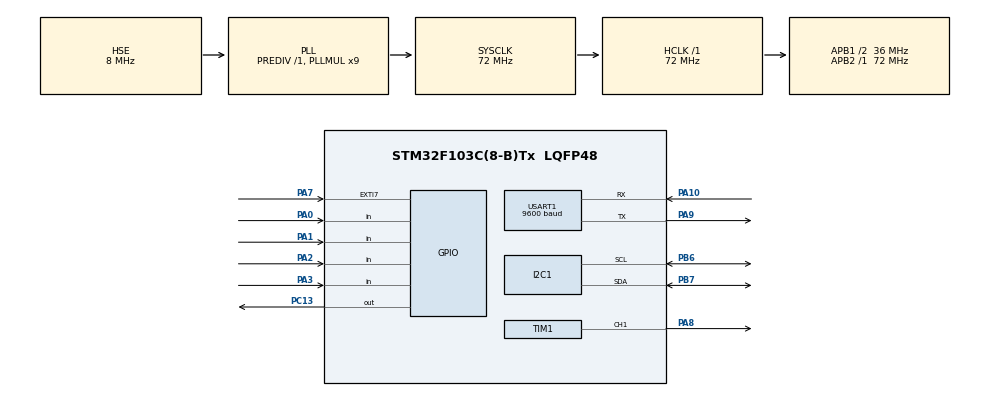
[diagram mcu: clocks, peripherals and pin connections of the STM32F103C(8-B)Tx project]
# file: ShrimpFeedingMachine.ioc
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Dma.Request0=USART1_RX
Dma.USART1_RX.0.Direction=DMA_PERIPH_TO_MEMORY
Dma.USART1_RX.0.Instance=DMA1_Channel5
Dma.USART1_RX.0.MemDataAlignment=DMA_MDATAALIGN_BYTE
Dma.USART1_RX.0.MemInc=DMA_MINC_ENABLE
Dma.USART1_RX.0.Mode=DMA_CIRCULAR
Dma.USART1_RX.0.PeriphDataAlignment=DMA_PDATAALIGN_BYTE
Dma.USART1_RX.0.PeriphInc=DMA_PINC_DISABLE
Dma.USART1_RX.0.Priority=DMA_PRIORITY_HIGH
Mcu.Family=STM32F1
Mcu.Name=STM32F103C(8-B)Tx
Mcu.Package=LQFP48
NVIC.DMA1_Channel5_IRQn=true\:0\:0\:false\:false\:true\:false\:true\:true
NVIC.EXTI9_5_IRQn=true\:0\:0\:false\:false\:true\:true\:true\:true
NVIC.PriorityGroup=NVIC_PRIORITYGROUP_4
NVIC.USART1_IRQn=true\:0\:0\:false\:false\:true\:true\:true\:true
PA0-WKUP.GPIO_PuPd=GPIO_PULLUP
PA0-WKUP.Signal=GPIO_Input
PA1.GPIO_PuPd=GPIO_PULLUP
PA1.Signal=GPIO_Input
PA10.Mode=Asynchronous
PA10.Signal=USART1_RX
PA13.Mode=Serial_Wire
PA13.Signal=SYS_JTMS-SWDIO
PA14.Mode=Serial_Wire
PA14.Signal=SYS_JTCK-SWCLK
PA2.GPIO_PuPd=GPIO_PULLUP
PA2.Signal=GPIO_Input
PA3.GPIO_PuPd=GPIO_PULLUP
PA3.Signal=GPIO_Input
PA7.GPIO_PuPd=GPIO_PULLUP
PA7.Signal=GPXTI7
PA8.Signal=S_TIM1_CH1
PA9.Mode=Asynchronous
PA9.Signal=USART1_TX
PB6.Mode=I2C
PB6.Signal=I2C1_SCL
PB7.Mode=I2C
PB7.Signal=I2C1_SDA
PC13-TAMPER-RTC.Signal=GPIO_Output
PD0-OSC_IN.Mode=HSE-External-Oscillator
PD0-OSC_IN.Signal=RCC_OSC_IN
PD1-OSC_OUT.Mode=HSE-External-Oscillator
PD1-OSC_OUT.Signal=RCC_OSC_OUT
ProjectManager.HeapSize=0x200
ProjectManager.StackSize=0x400
ProjectManager.TargetToolchain=MDK-ARM V5.32
RCC.AHBFreq_Value=72000000
RCC.APB1CLKDivider=RCC_HCLK_DIV2
RCC.APB1Freq_Value=36000000
RCC.APB1TimFreq_Value=72000000
RCC.APB2Freq_Value=72000000
RCC.APB2TimFreq_Value=72000000
RCC.HCLKFreq_Value=72000000
RCC.PLLMUL=RCC_PLL_MUL9
RCC.PLLSourceVirtual=RCC_PLLSOURCE_HSE
RCC.SYSCLKFreq_VALUE=72000000
RCC.SYSCLKSource=RCC_SYSCLKSOURCE_PLLCLK
RCC.USBFreq_Value=72000000
SH.S_TIM1_CH1.0=TIM1_CH1,PWM Generation1 CH1
TIM1.Channel-PWM\ Generation1\ CH1=TIM_CHANNEL_1
TIM1.Period=20000
TIM1.Prescaler=72-1
TIM1.Pulse-PWM\ Generation1\ CH1=10000
USART1.BaudRate=9600
USART1.VirtualMode=VM_ASYNC
VP_TIM1_VS_ClockSourceINT.Mode=Internal
board=custom

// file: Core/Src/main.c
/* USER CODE BEGIN Header */
/**
  ******************************************************************************
  * @file           : main.c
  * @brief          : Main program body
  ******************************************************************************
  * @attention
  *
  * Copyright (c) 2023 STMicroelectronics.
  * All rights reserved.
  *
  * This software is licensed under terms that can be found in the LICENSE file
  * in the root directory of this software component.
  * If no LICENSE file comes with this software, it is provided AS-IS.
  *
  ******************************************************************************
  */
/* USER CODE END Header */
#include "main.h"

/* USER CODE BEGIN Includes */
#include "hx711.h"
#include "string.h"
/* USER CODE END Includes */

/* USER CODE BEGIN PD */
#define HX711_CLK_GPIO_Port 	GPIOB
#define HX711_CLK_Pin					GPIO_PIN_6
#define HX711_DATA_GPIO_Port 	GPIOB
#define HX711_DATA_Pin				GPIO_PIN_7

#define ENCODER_PULSE 200

#define MODE_BUTTON 		GPIO_PIN_0
#define SET_BUTTON 			GPIO_PIN_1
#define CHANGE_BUTTON 	GPIO_PIN_2

/* USER CODE END PD */

I2C_HandleTypeDef hi2c1;

TIM_HandleTypeDef htim1;

UART_HandleTypeDef huart1;
DMA_HandleTypeDef hdma_usart1_rx;

/* USER CODE BEGIN PV */
hx711_t loadcell;
uint8_t weight;

volatile uint16_t EnableEOS = 0, setEnable = 0, UpToSecond = 0, CountingPulse = 0, PulseWidth = 10000, PulseLever = 5, RPM = 0;
uint8_t buttonBuffer[4] = {0, 0, 0, 0};
//------------------------------FOR UART'S VARIABLES-----------------------------
volatile uint8_t txBuffer[5] = {0,0,0,0,0};
volatile uint8_t rxBuffer[5] = {0,0,0,0,0};

volatile uint8_t Minutes = 0, Seconds = 0, SetMinutes = 2, SetSeconds = 5, ModeAck = 0;
volatile uint8_t Set = 1, CheckLoadCellTime = 0, button;
// ------------------------------------------------------------------------------

/* USER CODE END PV */

void SystemClock_Config(void);
static void MX_GPIO_Init(void);
static void MX_DMA_Init(void);
static void MX_I2C1_Init(void);
static void MX_USART1_UART_Init(void);
static void MX_TIM1_Init(void);

/* USER CODE BEGIN 0 */
// ******************************** FOR EOS FUNCTIONS **************************
void EOS_Enable(uint32_t x) //  Bat EOS
{
	EnableEOS = 1;

	SysTick->LOAD = SystemCoreClock / 1000*x;
	SysTick->VAL = 0;
	SysTick->CTRL |= SysTick_CTRL_CLKSOURCE_Msk | SysTick_CTRL_TICKINT_Msk | SysTick_CTRL_ENABLE_Msk;
}

void EOS_Disable()					// Tat EOS va cau hinh lai SYSTICK TIMER
{
	EnableEOS = 0;
	SysTick->CTRL &= ~SysTick_CTRL_ENABLE_Msk;
	HAL_InitTick(uwTickPrio);
}

// ******************************** FOR UART FUNCTIONS ********************************
void HAL_UART_RxCpltCallback(UART_HandleTypeDef *huart)
{
	HAL_UART_Receive_DMA(&huart1, rxBuffer, 5);
}

// ******************************** FOR TIME FUNCTIONS ********************************
void runTime()
{
	Seconds++;
	CheckLoadCellTime++;
	if (Seconds > 59)
	{
		Seconds = 0;
		Minutes++;
		if (Minutes > 59)
		{
			Minutes = 0;
		}
	}
}

// ******************************** FOR ENCODER GPIO FUNCTIONS **************************

void HAL_GPIO_EXTI_Callback(uint16_t GPIO_Pin) // Ham dem xung khi co ngat
{
	CountingPulse++;
}
// ************************** FOR BUTTON FUNCTIONS ******************************

uint8_t readModeButton()							// doc nut nhan mode
{
	return (GPIOA->IDR & GPIO_PIN_0) == 0;
}

uint8_t readSetButton()							// doc nut nhan set
{
	return (GPIOA->IDR & GPIO_PIN_1) == 0;
}

uint8_t readUpButton()						// doc nut nhan up, nut nay thay tang gia tri thoi gian phut, giay
{
	return (GPIOA->IDR & GPIO_PIN_2) == 0;
}

uint8_t readDownButton()						// doc nut nhan down, nut nay giam gia tri thoi gian phut, giay
{
	return (GPIOA->IDR & GPIO_PIN_3) == 0;
}

uint8_t readButtons()							// doc nut nhan va tra ve gia tri nut nhan
{
	uint8_t temp = 0, result = 0;
	if (readModeButton())
	{
		temp = 1;
	}
	else if (readSetButton())
	{
		temp = 2;
	}
	else if (readUpButton())
	{
		temp = 3;
	}
	else if (readDownButton())
	{
		temp = 4;
	}

	buttonBuffer[0] = buttonBuffer[1]; //Store data

	buttonBuffer[1] = buttonBuffer[2];

	buttonBuffer[2] = temp;

	if (buttonBuffer[0] != 0 && (buttonBuffer[0] == buttonBuffer[1])&&(buttonBuffer[2] == 0))
	{
		result = buttonBuffer[0];
	}

	return result;
}

void putValueToTXBuffer(unsigned char command, uint16_t value)	// truyen gia tri vao TX buffer
{
	txBuffer[0] = command;
	txBuffer[1] = (value % 10000 / 1000) + 0x30;
	txBuffer[2] = (value % 1000 / 100) + 0x30;
	txBuffer[3] = (value % 100 / 10) + 0x30;
	txBuffer[4] = (value % 10) + 0x30;
}

void setUpTime()						// Ham nay doc nut nhan va gui gia tri vua doc len esp32
{
	button = 0;
	button = readButtons();
	if (button == 1)
	{
		setEnable = 1;
		ModeAck = 0;
		putValueToTXBuffer('e', EnableEOS);
		while (HAL_UART_Transmit(&huart1, (uint8_t *)txBuffer, strlen((uint8_t*)txBuffer), HAL_MAX_DELAY) != HAL_OK);
	}
	else if (button == 2)
	{
		Set = (Set+1) % 3;
		putValueToTXBuffer('s', Set);
		while (HAL_UART_Transmit(&huart1, (uint8_t *)txBuffer, strlen((uint8_t*)txBuffer), HAL_MAX_DELAY) != HAL_OK);
	}
	else if (button == 3)
	{
		if (Set == 2)
		{
			if (PulseWidth < 20000)
			{
				PulseWidth += 2000;
				PulseLever++;
			}
			// Send to esp32 through UART communication
			putValueToTXBuffer('p', PulseLever);											// 230 = 2*10^3 *(-1)*0 = 2000
		}
		else if (Set == 1)
		{
			SetMinutes++;
			// Send to esp32 through UART communication
			putValueToTXBuffer('m', SetMinutes);
		}
		else if (Set == 0)
		{
			SetSeconds++;
			// Send to esp32 through UART communication
			putValueToTXBuffer('s', SetSeconds);
		}
		while (HAL_UART_Transmit(&huart1, (uint8_t *)txBuffer, strlen((uint8_t*)txBuffer), HAL_MAX_DELAY) != HAL_OK);
	}
	else if (button == 4)
	{
		if (Set == 2)
		{
			if (PulseWidth != 0)
			{
				PulseWidth -= 2000;
				PulseLever--;
			}
			// Send to esp32 through UART communication
			putValueToTXBuffer('p', PulseLever);									// 231 = 2*10^3 *(-1)*1 = -2000
		}
		else if (Set == 1)
		{
			SetMinutes--;
			// Send to esp32 through UART communication
			putValueToTXBuffer('m', SetMinutes);
		}
		else if (Set == 0)
		{
			SetSeconds--;
			// Send to esp32 through UART communication
			putValueToTXBuffer('s', SetSeconds);
		}
		while (HAL_UART_Transmit(&huart1, (uint8_t *)txBuffer, strlen((uint8_t*)txBuffer), HAL_MAX_DELAY) != HAL_OK);
	}
	HAL_Delay(10);
}

void checkFood()
{
	weight = hx711_weight(&loadcell, 10) - 821;
	if (weight < 20)
	{
		putValueToTXBuffer('o', 0);
		while (HAL_UART_Transmit(&huart1, (uint8_t *)txBuffer, strlen((uint8_t*)txBuffer), HAL_MAX_DELAY) != HAL_OK);
	}
	else
	{
		putValueToTXBuffer('o', 1);
		while (HAL_UART_Transmit(&huart1, (uint8_t *)txBuffer, strlen((uint8_t*)txBuffer), HAL_MAX_DELAY) != HAL_OK);
	}
}

void handleTime(volatile uint8_t *time)
{
	(*time) = (rxBuffer[1]-0x30)*1000 + (rxBuffer[2]-0x30)*100 + (rxBuffer[3]-0x30)*10 + (rxBuffer[4]-0x30);
}

void handlePWM(volatile uint16_t *pulseWidth)
{
	uint16_t temp = (rxBuffer[1]-0x30)*1000 + (rxBuffer[2]-0x30)*100 + (rxBuffer[3]-0x30)*10 + (rxBuffer[4]-0x30);
	if (temp > 10) temp = 10;
	(*pulseWidth) = temp*2000;
}

// ------------------------------------ MAIN MONITOR ------------------------------------------
void mainMenu()																								// Chuong trinh dieu khien he thong
{
	if (setEnable == 1)
	{
		EnableEOS = 1;
		Seconds = 0;
		Minutes = 0;

		setEnable = 0;
	}
	if (EnableEOS == 1)
	{
		EOS_Enable(50);																						// Khoi chay EOS 50ms bat len 1 lan
		while (EnableEOS == 1)																		// Cho` den khi enableEOS == 0
		{
			HAL_PWR_EnterSLEEPMode(PWR_MAINREGULATOR_ON, PWR_SLEEPENTRY_WFI); // bat che ngu cho vi dieu khien
		}
		EOS_Disable();																						// Tat EOS
	}
// ---------------
	if (Minutes == SetMinutes)																	// Neu phut tang len bang phut da thiet lap
	{
		Minutes = 0;					// set thoi gian cho an va thoi gian nghi ve 0
		Seconds = SetSeconds;
		HAL_TIM_PWM_Start(&htim1, TIM_CHANNEL_1);									// cho phep timer tao xung PWM
		__HAL_TIM_SET_COMPARE(&htim1, TIM_CHANNEL_1, PulseWidth);

		for (uint8_t i = 0; i < SetSeconds; i++)
		{
			HAL_Delay(1000);
			RPM = (CountingPulse/(float)ENCODER_PULSE)*60;
			CountingPulse = 0;		// reset bien dem xung

			putValueToTXBuffer('W', RPM);
			while (HAL_UART_Transmit(&huart1, (uint8_t *)txBuffer, strlen((uint8_t*)txBuffer), HAL_MAX_DELAY) != HAL_OK); // truyen gia tri toc do dong co len esp32
		}
		HAL_TIM_PWM_Stop(&htim1, TIM_CHANNEL_1);								// tat timer tao xung PWM

		CountingPulse = 0;		// reset bien dem xung
		RPM = 0;
		putValueToTXBuffer('W', 0);
		while (HAL_UART_Transmit(&huart1, (uint8_t *)txBuffer, strlen((uint8_t*)txBuffer), HAL_MAX_DELAY) != HAL_OK);
		EnableEOS = 1;				// Bat lai EOS
	}
	if (CheckLoadCellTime == 30)
	{
		checkFood();
		CheckLoadCellTime = 0;
		EnableEOS = 1;
	}
// ---------------
	if (rxBuffer[0] != 0) 																		// Cho nay xu li du lieu esp gui ve
	{
		HAL_Delay(10);
		if (rxBuffer[0] == 'e')																	// Bat tat de set up thoi gian (e: enable, e0: chay EOS, e1: tat EOS va vao menu)
		{
			if (rxBuffer[4] == '1')
			{
				EnableEOS = 1;
				Seconds = 0;
				Minutes = 0;
			}
		}
		else if (rxBuffer[0] == 's')																	// Xu li gia tri thoi gian : sxx myy (s: giay, xx so giay, m: phut, yy: so phut)
		{
			// handle Seconds
			handleTime(&SetSeconds);															// Xu li giay
		}
		else if (rxBuffer[0] == 'm')
		{
			// handle Minutes
			handleTime(&SetMinutes);														  // Xu li phut
			//
		}
		else if (rxBuffer[0] == 'p')
		{
			// handle Pulse
			handlePWM(&PulseWidth);														  // Xu li xung
			//
		}
		//memset(rxBuffer, 0, 4);        // xoa mang RX buffer cua UART
		rxBuffer[0] = 0; rxBuffer[1] = 0; rxBuffer[2] = 0; rxBuffer[3] = 0; rxBuffer[4] = 0;
	}
// ---------------
	if (EnableEOS == 0)
	{
		setUpTime();
	}
}

void setUpSystemInit()
{
	putValueToTXBuffer('e', EnableEOS);
	while (HAL_UART_Transmit(&huart1, (uint8_t *)txBuffer, strlen((uint8_t*)txBuffer), HAL_MAX_DELAY) != HAL_OK);
	putValueToTXBuffer('s', SetSeconds);
	while (HAL_UART_Transmit(&huart1, (uint8_t *)txBuffer, strlen((uint8_t*)txBuffer), HAL_MAX_DELAY) != HAL_OK);
	putValueToTXBuffer('m', SetMinutes);
	while (HAL_UART_Transmit(&huart1, (uint8_t *)txBuffer, strlen((uint8_t*)txBuffer), HAL_MAX_DELAY) != HAL_OK);
	putValueToTXBuffer('p', PulseWidth);
	while (HAL_UART_Transmit(&huart1, (uint8_t *)txBuffer, strlen((uint8_t*)txBuffer), HAL_MAX_DELAY) != HAL_OK);
	putValueToTXBuffer('W', 0);
	while (HAL_UART_Transmit(&huart1, (uint8_t *)txBuffer, strlen((uint8_t*)txBuffer), HAL_MAX_DELAY) != HAL_OK);
	checkFood();
}

// ----------------------------------- SYSTICK HANDLER ----------------------------------------
void SysTick_Handler(void)
{
	if (EnableEOS == 1)
	{
		UpToSecond++;
		if (UpToSecond > 19)  // EOS 50ms bat len, upToSecond = 20 => 20*50ms = 1s -> tang 1 giay
		{
			UpToSecond = 0;
			runTime();					// tang 1 giay len

			if (Minutes == SetMinutes) EnableEOS = 0;
			HAL_GPIO_TogglePin(GPIOC, GPIO_PIN_13);				// Kiem tra xem chuong trinh co bi treo hay khong bang cach cho LED chop tat
		}
		if (Minutes == SetMinutes)
		{
			 EnableEOS = 0;
		}
		if (CheckLoadCellTime == 30)
		{
			EnableEOS = 0;
		}
		if (readButtons() == 1)				// neu nhan nut mode thi thoat ra khoi EOS
		{
			ModeAck++;
			if (ModeAck >= 3) EnableEOS = (EnableEOS + 1) % 2;
		}
		if (rxBuffer[0] == 'e')							// neu esp32 gui lenh ngung EOS thi thoat ra khoi EOS
		{
			if (rxBuffer[4] == '0') EnableEOS = 0;
		}
	}
	else
	{
		HAL_IncTick();
	}
}

/* USER CODE END 0 */

int main(void)
{

  /* MCU Configuration--------------------------------------------------------*/

  /* Reset of all peripherals, Initializes the Flash interface and the Systick. */
  HAL_Init();

  /* Configure the system clock */
  SystemClock_Config();

  /* Initialize all configured peripherals */
  MX_GPIO_Init();
  MX_DMA_Init();
  MX_I2C1_Init();
  MX_USART1_UART_Init();
  MX_TIM1_Init();
  /* USER CODE BEGIN 2 */
  hx711_init(&loadcell, HX711_CLK_GPIO_Port, HX711_CLK_Pin, HX711_DATA_GPIO_Port, HX711_DATA_Pin);
  hx711_coef_set(&loadcell, 1001.81); 																		  // read afer calibration
  hx711_tare(&loadcell, 10);

  HAL_UART_Receive_DMA(&huart1, rxBuffer, 5); 												 // Receive data from data buffer interrupt mode
	setUpSystemInit();
  /* USER CODE END 2 */

  /* Infinite loop */
  /* USER CODE BEGIN WHILE */
  while (1)
  {
		mainMenu();
    /* USER CODE END WHILE */

  }
}

void SystemClock_Config(void)
{
  RCC_OscInitTypeDef RCC_OscInitStruct = {0};
  RCC_ClkInitTypeDef RCC_ClkInitStruct = {0};

  /** Initializes the RCC Oscillators according to the specified parameters
  * in the RCC_OscInitTypeDef structure.
  */
  RCC_OscInitStruct.OscillatorType = RCC_OSCILLATORTYPE_HSE;
  RCC_OscInitStruct.HSEState = RCC_HSE_ON;
  RCC_OscInitStruct.HSEPredivValue = RCC_HSE_PREDIV_DIV1;
  RCC_OscInitStruct.HSIState = RCC_HSI_ON;
  RCC_OscInitStruct.PLL.PLLState = RCC_PLL_ON;
  RCC_OscInitStruct.PLL.PLLSource = RCC_PLLSOURCE_HSE;
  RCC_OscInitStruct.PLL.PLLMUL = RCC_PLL_MUL9;
  if (HAL_RCC_OscConfig(&RCC_OscInitStruct) != HAL_OK)
  {
    Error_Handler();
  }

  /** Initializes the CPU, AHB and APB buses clocks
  */
  RCC_ClkInitStruct.ClockType = RCC_CLOCKTYPE_HCLK|RCC_CLOCKTYPE_SYSCLK
                              |RCC_CLOCKTYPE_PCLK1|RCC_CLOCKTYPE_PCLK2;
  RCC_ClkInitStruct.SYSCLKSource = RCC_SYSCLKSOURCE_PLLCLK;
  RCC_ClkInitStruct.AHBCLKDivider = RCC_SYSCLK_DIV1;
  RCC_ClkInitStruct.APB1CLKDivider = RCC_HCLK_DIV2;
  RCC_ClkInitStruct.APB2CLKDivider = RCC_HCLK_DIV1;

  if (HAL_RCC_ClockConfig(&RCC_ClkInitStruct, FLASH_LATENCY_2) != HAL_OK)
  {
    Error_Handler();
  }
}

static void MX_I2C1_Init(void)
{

  hi2c1.Instance = I2C1;
  hi2c1.Init.ClockSpeed = 100000;
  hi2c1.Init.DutyCycle = I2C_DUTYCYCLE_2;
  hi2c1.Init.OwnAddress1 = 0;
  hi2c1.Init.AddressingMode = I2C_ADDRESSINGMODE_7BIT;
  hi2c1.Init.DualAddressMode = I2C_DUALADDRESS_DISABLE;
  hi2c1.Init.OwnAddress2 = 0;
  hi2c1.Init.GeneralCallMode = I2C_GENERALCALL_DISABLE;
  hi2c1.Init.NoStretchMode = I2C_NOSTRETCH_DISABLE;
  if (HAL_I2C_Init(&hi2c1) != HAL_OK)
  {
    Error_Handler();
  }

}

static void MX_TIM1_Init(void)
{

  TIM_ClockConfigTypeDef sClockSourceConfig = {0};
  TIM_MasterConfigTypeDef sMasterConfig = {0};
  TIM_OC_InitTypeDef sConfigOC = {0};
  TIM_BreakDeadTimeConfigTypeDef sBreakDeadTimeConfig = {0};

  htim1.Instance = TIM1;
  htim1.Init.Prescaler = 72-1;
  htim1.Init.CounterMode = TIM_COUNTERMODE_UP;
  htim1.Init.Period = 20000;
  htim1.Init.ClockDivision = TIM_CLOCKDIVISION_DIV1;
  htim1.Init.RepetitionCounter = 0;
  htim1.Init.AutoReloadPreload = TIM_AUTORELOAD_PRELOAD_DISABLE;
  if (HAL_TIM_Base_Init(&htim1) != HAL_OK)
  {
    Error_Handler();
  }
  sClockSourceConfig.ClockSource = TIM_CLOCKSOURCE_INTERNAL;
  if (HAL_TIM_ConfigClockSource(&htim1, &sClockSourceConfig) != HAL_OK)
  {
    Error_Handler();
  }
  if (HAL_TIM_PWM_Init(&htim1) != HAL_OK)
  {
    Error_Handler();
  }
  sMasterConfig.MasterOutputTrigger = TIM_TRGO_RESET;
  sMasterConfig.MasterSlaveMode = TIM_MASTERSLAVEMODE_DISABLE;
  if (HAL_TIMEx_MasterConfigSynchronization(&htim1, &sMasterConfig) != HAL_OK)
  {
    Error_Handler();
  }
  sConfigOC.OCMode = TIM_OCMODE_PWM1;
  sConfigOC.Pulse = 10000;
  sConfigOC.OCPolarity = TIM_OCPOLARITY_HIGH;
  sConfigOC.OCNPolarity = TIM_OCNPOLARITY_HIGH;
  sConfigOC.OCFastMode = TIM_OCFAST_DISABLE;
  sConfigOC.OCIdleState = TIM_OCIDLESTATE_RESET;
  sConfigOC.OCNIdleState = TIM_OCNIDLESTATE_RESET;
  if (HAL_TIM_PWM_ConfigChannel(&htim1, &sConfigOC, TIM_CHANNEL_1) != HAL_OK)
  {
    Error_Handler();
  }
  sBreakDeadTimeConfig.OffStateRunMode = TIM_OSSR_DISABLE;
  sBreakDeadTimeConfig.OffStateIDLEMode = TIM_OSSI_DISABLE;
  sBreakDeadTimeConfig.LockLevel = TIM_LOCKLEVEL_OFF;
  sBreakDeadTimeConfig.DeadTime = 0;
  sBreakDeadTimeConfig.BreakState = TIM_BREAK_DISABLE;
  sBreakDeadTimeConfig.BreakPolarity = TIM_BREAKPOLARITY_HIGH;
  sBreakDeadTimeConfig.AutomaticOutput = TIM_AUTOMATICOUTPUT_DISABLE;
  if (HAL_TIMEx_ConfigBreakDeadTime(&htim1, &sBreakDeadTimeConfig) != HAL_OK)
  {
    Error_Handler();
  }
  HAL_TIM_MspPostInit(&htim1);

}

static void MX_USART1_UART_Init(void)
{

  huart1.Instance = USART1;
  huart1.Init.BaudRate = 9600;
  huart1.Init.WordLength = UART_WORDLENGTH_8B;
  huart1.Init.StopBits = UART_STOPBITS_1;
  huart1.Init.Parity = UART_PARITY_NONE;
  huart1.Init.Mode = UART_MODE_TX_RX;
  huart1.Init.HwFlowCtl = UART_HWCONTROL_NONE;
  huart1.Init.OverSampling = UART_OVERSAMPLING_16;
  if (HAL_UART_Init(&huart1) != HAL_OK)
  {
    Error_Handler();
  }

}

static void MX_DMA_Init(void)
{

  /* DMA controller clock enable */
  __HAL_RCC_DMA1_CLK_ENABLE();

  /* DMA interrupt init */
  /* DMA1_Channel5_IRQn interrupt configuration */
  HAL_NVIC_SetPriority(DMA1_Channel5_IRQn, 0, 0);
  HAL_NVIC_EnableIRQ(DMA1_Channel5_IRQn);

}

static void MX_GPIO_Init(void)
{
  GPIO_InitTypeDef GPIO_InitStruct = {0};

  /* GPIO Ports Clock Enable */
  __HAL_RCC_GPIOC_CLK_ENABLE();
  __HAL_RCC_GPIOD_CLK_ENABLE();
  __HAL_RCC_GPIOA_CLK_ENABLE();
  __HAL_RCC_GPIOB_CLK_ENABLE();

  /*Configure GPIO pin Output Level */
  HAL_GPIO_WritePin(GPIOC, GPIO_PIN_13, GPIO_PIN_RESET);

  /*Configure GPIO pin : PC13 */
  GPIO_InitStruct.Pin = GPIO_PIN_13;
  GPIO_InitStruct.Mode = GPIO_MODE_OUTPUT_PP;
  GPIO_InitStruct.Pull = GPIO_NOPULL;
  GPIO_InitStruct.Speed = GPIO_SPEED_FREQ_LOW;
  HAL_GPIO_Init(GPIOC, &GPIO_InitStruct);

  /*Configure GPIO pins : PA0 PA1 PA2 PA3 */
  GPIO_InitStruct.Pin = GPIO_PIN_0|GPIO_PIN_1|GPIO_PIN_2|GPIO_PIN_3;
  GPIO_InitStruct.Mode = GPIO_MODE_INPUT;
  GPIO_InitStruct.Pull = GPIO_PULLUP;
  HAL_GPIO_Init(GPIOA, &GPIO_InitStruct);

  /*Configure GPIO pin : PA7 */
  GPIO_InitStruct.Pin = GPIO_PIN_7;
  GPIO_InitStruct.Mode = GPIO_MODE_IT_RISING;
  GPIO_InitStruct.Pull = GPIO_PULLUP;
  HAL_GPIO_Init(GPIOA, &GPIO_InitStruct);

  /* EXTI interrupt init*/
  HAL_NVIC_SetPriority(EXTI9_5_IRQn, 0, 0);
  HAL_NVIC_EnableIRQ(EXTI9_5_IRQn);

}

void Error_Handler(void)
{
  __disable_irq();
  while (1)
  {
  }
}
